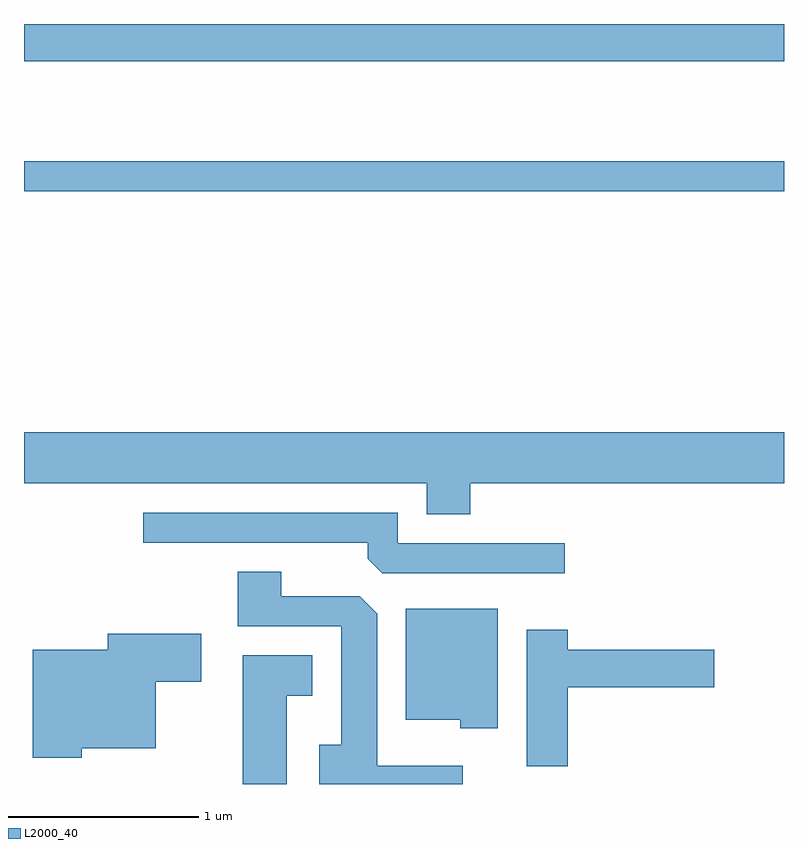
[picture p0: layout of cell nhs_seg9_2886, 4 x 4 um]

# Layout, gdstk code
import gdstk
lib = gdstk.Library(unit=1e-6, precision=1e-09)
def R(c, l, rs):  # rectangles x0, y0, x1, y1
    for r in rs: c.add(gdstk.rectangle(r[:2], r[2:], *l))
def P(c, l, *ps):  # polygons
    for p in ps: c.add(gdstk.Polygon(p, *l))
L2000_40 = (2000, 40)

nhs_seg9_2886 = lib.new_cell('nhs_seg9_2886')
R(nhs_seg9_2886, L2000_40, [(269.611,2015.551,273.611,2015.709), (269.611,2016.236,273.611,2016.432)])
P(nhs_seg9_2886, L2000_40, [(271.959,2014.016),(273.611,2014.016),(273.611,2014.284),(269.611,2014.284),(269.611,2014.016),(271.731,2014.016),(271.731,2013.851),(271.959,2013.851)],
  [(272.458,2013.699),(271.579,2013.699),(271.579,2013.859),(270.238,2013.859),(270.238,2013.701),(271.421,2013.701),(271.421,2013.617),(271.497,2013.541),(272.458,2013.541)],
  [(271.919,2012.529),(271.469,2012.529),(271.469,2013.329),(271.379,2013.419),(270.964,2013.419),(270.964,2013.549),(270.736,2013.549),(270.736,2013.261),(271.281,2013.261),(271.281,2012.639),(271.166,2012.639),(271.166,2012.432),(271.919,2012.432)],
  [(272.104,2013.354),(271.621,2013.354),(271.621,2012.771),(271.906,2012.771),(271.906,2012.726),(272.104,2012.726)],
  [(272.474,2012.941),(273.244,2012.941),(273.244,2013.139),(272.474,2013.139),(272.474,2013.244),(272.256,2013.244),(272.256,2012.526),(272.474,2012.526)],
  [(269.914,2012.621),(270.304,2012.621),(270.304,2012.971),(270.544,2012.971),(270.544,2013.224),(270.051,2013.224),(270.051,2013.139),(269.656,2013.139),(269.656,2012.571),(269.914,2012.571)],
  [(270.994,2012.896),(271.129,2012.896),(271.129,2013.109),(270.761,2013.109),(270.761,2012.432),(270.994,2012.432)])

lib.write_gds('nhs_seg9_2886.gds')
